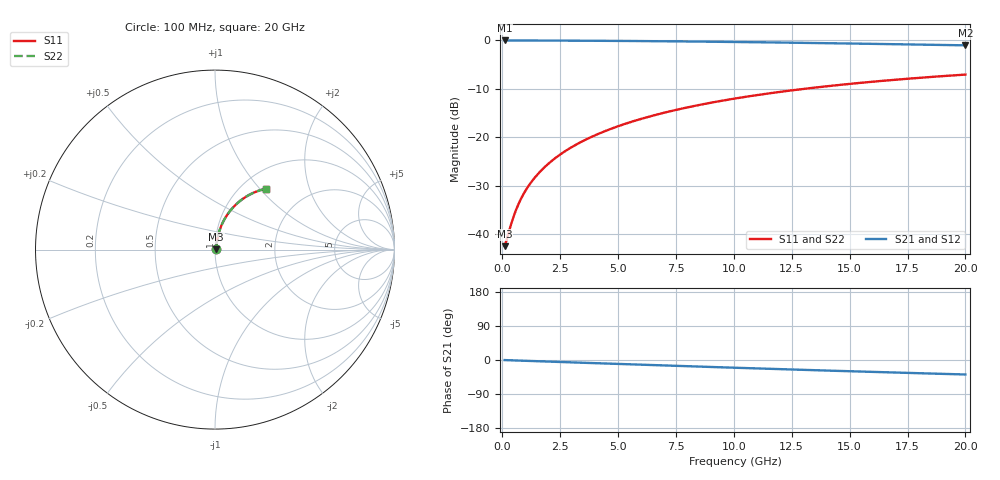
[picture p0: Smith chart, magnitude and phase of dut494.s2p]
! Touchstone file exported from HFSS 2026.1.0
!  File:  C:/ffzhzh/LocalFiles/Ansys_Project_Files/temp_train_TMRDL_494_1783006622_46388.aedt
!  Generated:  11:38:25 PM Jul  2, 2026
!  Design:  TMRDL
!  Project:  temp_train_TMRDL_494_1783006622_46388
! Variables:
!  h_bsmrdl = 2um
!  h_ox = 20um
!  h_rdl = 5um
!  h_sub = 80um
!  h_tmrdl = 2.01um
!  h_tsv = 80um
!  h_via = 3um
!  l_bsmrdl = 300um
!  l_sub = 879.3um
!  l_tmrdl = 479.3um
!  m_sub = 200um
!  pitch = 42.69um
!  r_tsv = 6um
!  s_tmrdl = 10um
!  w_bsmrdl = 18um
!  w_sub = 500um
!  w_tmrdl = 12.29um
!  x_tsv_center1 = 485.445um
!  x_tsv_center2 = 803.445um
!  x_tsv_center3 = 1295.035um
!  x_tsv_center4 = 1613.035um
!  x_tsv_center5 = 2104.625um
!  x_tsv_center6 = 2422.625um
# GHz S MA R 50.000000
! Terminal data exported
! Port[1] = TM_RDL1_1_T1
! Port[2] = TM_RDL1_1_T2
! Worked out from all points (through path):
!   200 points, 100 MHz to 20 GHz, reference 50 ohm
!   highest |S21| = -0.06 dB at 100 MHz (marker M1); lowest = -1.1 dB at 20 GHz (marker M2)
!   group delay of S21, straight-line fit = 5.33 ps
!   lowest |S11| = -42.5 dB at 100 MHz (marker M3), VSWR 1.02, Z = 50.7 + j0.278 ohm
!   |S11| at or under -10 dB: start of sweep to 13.1 GHz
!   |S22| runs from -42.5 to -7.1 dB; largest |S21 - S12| = 4e-15
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0.1  0.007534 21.3  0.993 -0.2  0.993 -0.2  0.007534 21.3
! Gamma 0 0 0 0
! Port Impedance 50 0 50 0
0.2  0.008952 37.6  0.9929 -0.4  0.9929 -0.4  0.008952 37.6
0.4  0.01313 56.0  0.9928 -0.9  0.9928 -0.9  0.01313 56.0
0.5  0.01551 61.0  0.9926 -1.1  0.9926 -1.1  0.01551 61.0
0.7  0.02047 67.1  0.9924 -1.5  0.9924 -1.5  0.02047 67.1
0.8  0.02299 69.1  0.9922 -1.7  0.9922 -1.7  0.02299 69.1
1  0.02807 71.9  0.9919 -2.1  0.9919 -2.1  0.02807 71.9
1.3  0.0357 74.3  0.9914 -2.8  0.9914 -2.8  0.0357 74.3
1.7  0.0459 76.1  0.9908 -3.6  0.9908 -3.6  0.0459 76.1
2.2  0.05865 77.1  0.9899 -4.6  0.9899 -4.6  0.05865 77.1
2.8  0.07397 77.5  0.9887 -5.9  0.9887 -5.9  0.07397 77.5
3.5  0.0918 77.2  0.9871 -7.3  0.9871 -7.3  0.0918 77.2
4.2  0.1095 76.6  0.9851 -8.7  0.9851 -8.7  0.1095 76.6
5  0.1297 75.6  0.9825 -10.4  0.9825 -10.4  0.1297 75.6
5.9  0.1521 74.3  0.9792 -12.2  0.9792 -12.2  0.1521 74.3
6.8  0.1741 72.9  0.9753 -14.0  0.9753 -14.0  0.1741 72.9
8.3  0.2101 70.3  0.9679 -17.0  0.9679 -17.0  0.2101 70.3
10.1  0.2516 67.1  0.9576 -20.5  0.9576 -20.5  0.2516 67.1
11.7  0.2868 64.3  0.9473 -23.6  0.9473 -23.6  0.2868 64.3
13.4  0.3225 61.3  0.9355 -26.8  0.9355 -26.8  0.3225 61.3
16.7  0.386 55.6  0.9106 -32.7  0.9106 -32.7  0.386 55.6
20  0.4419 50.2  0.8845 -38.2  0.8845 -38.2  0.4419 50.1
